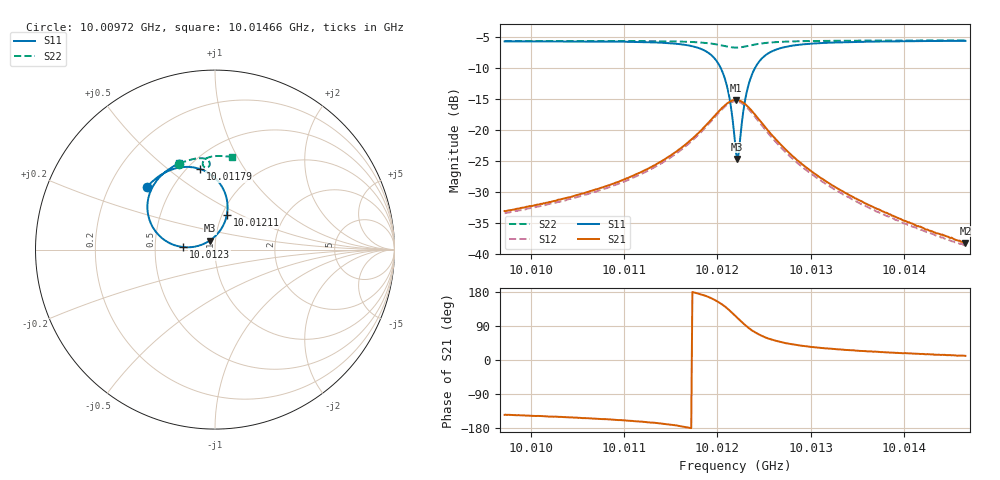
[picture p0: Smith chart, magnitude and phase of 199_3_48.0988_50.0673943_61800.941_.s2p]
#  HZ  S  RI  R  50.00
! Rohde & Schwarz Vector Network Analyzer
! Rohde-Schwarz,ZNB20-2Port,1311601062101988,3.16
! Created: UTC 12/23/2023, 3:54:34 AM
! freq[Hz]  re:S11  im:S11  re:S21  im:S21  re:S12  im:S12  re:S22  im:S22
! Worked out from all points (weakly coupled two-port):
!   401 points, 10.00972 GHz to 10.01466 GHz, reference 50 ohm
!   highest |S21| = -15.21 dB at 10.0122 GHz (marker M1); lowest = -38.3 dB at 10.01466 GHz (marker M2)
!   lowest |S11| = -24.7 dB at 10.01221 GHz (marker M3), VSWR 1.12, Z = 46.8 + j4.64 ohm
!   |S11| at or under -10 dB: 10.01203 GHz to 10.0124 GHz (371.3 kHz wide, 0.00371 % of centre)
!   |S22| runs from -6.8 to -5.6 dB; largest |S21 - S12| = 0.0088
!   S11 on the Smith chart (normalised r, x): 10.00972 GHz: 0.36, +0.34; 10.01179 GHz: 0.57, +0.65; 10.01211 GHz: 1.05, +0.43; 10.0123 GHz: 0.70, +0.02; 10.01466 GHz: 0.44, +0.57
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1.0009716e10  -0.3808 0.3472  -0.018 -0.0128  -0.0166 -0.0132  -0.1989 0.4785
1.0010544e10  -0.3257 0.399  -0.0272 -0.0139  -0.0254 -0.0145  -0.1465 0.4978
1.0011002e10  -0.2802 0.4288  -0.0373 -0.0141  -0.0352 -0.0149  -0.1152 0.5055
1.0011372e10  -0.2221 0.4521  -0.0528 -0.0122  -0.0502 -0.0143  -0.0872 0.5094
1.0011793e10  -0.0846 0.4493  -0.0933 0.00762  -0.0905 0.0019  -0.0486 0.5038
1.0011991e10  0.0351 0.3566  -0.1226 0.0553  -0.1221 0.0473  -0.0306 0.486
1.0012065e10  0.0676 0.2699  -0.1243 0.09  -0.1254 0.0822  -0.029 0.474
1.0012114e10  0.0663 0.1937  -0.1148 0.1181  -0.1173 0.1102  -0.0322 0.4656
1.0012151e10  0.0452 0.1334  -0.1001 0.1385  -0.104 0.1306  -0.0373 0.4602
1.0012188e10  0.00535 0.0787  -0.0792 0.1542  -0.0832 0.1475  -0.0442 0.4572
1.0012201e10  -0.0117 0.0633  -0.0712 0.1584  -0.0754 0.1517  -0.0466 0.4567
1.0012213e10  -0.0303 0.0494  -0.063 0.1616  -0.067 0.1551  -0.0492 0.4568
1.0012238e10  -0.0709 0.0283  -0.0463 0.1651  -0.0502 0.159  -0.0542 0.4575
1.00123e10  -0.1769 0.014  -0.00471 0.1603  -0.00938 0.1547  -0.0641 0.4646
1.0012337e10  -0.2327 0.0273  0.0153 0.15  0.00995 0.1451  -0.0673 0.4705
1.0012374e10  -0.278 0.051  0.0302 0.1373  0.0239 0.1331  -0.0685 0.477
1.0012497e10  -0.3586 0.1487  0.0519 0.0949  0.046 0.0925  -0.0635 0.4945
1.001272e10  -0.3738 0.2733  0.0497 0.0499  0.0452 0.0497  -0.0438 0.5105
1.0013016e10  -0.3448 0.3548  0.0377 0.0256  0.0348 0.0263  -0.0184 0.5183
1.0013375e10  -0.3077 0.4043  0.0276 0.0138  0.0256 0.0145  0.00904 0.5212
1.0013845e10  -0.2657 0.4416  0.0196 0.00699  0.0183 0.00776  0.0424 0.5212
1.001466e10  -0.2019 0.4799  0.012 0.00234  0.0111 0.00296  0.0967 0.5151
